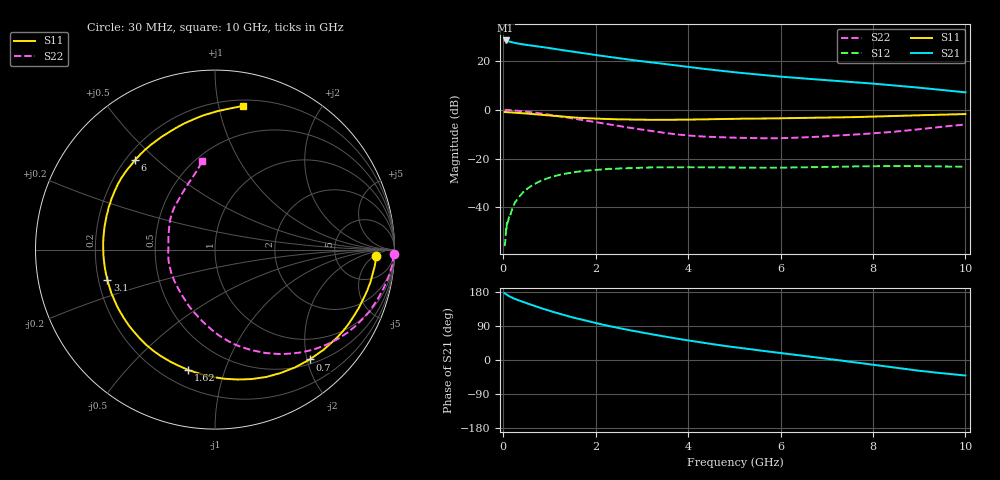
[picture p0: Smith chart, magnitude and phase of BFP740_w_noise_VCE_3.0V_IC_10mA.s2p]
! Infineon Technologies  Discrete & RF Semiconductors
! BFP740
! VCE =  3.0 V,  IC =  10 mA
! Common Emitter S-Parameters:  Jan 2016
# GHz  S  MA  R  50
!  f  S11  S21  S12  S22
! GHz  MAG  ANG  MAG  ANG  MAG  ANG  MAG  ANG
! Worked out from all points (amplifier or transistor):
!   229 points, 30 MHz to 10 GHz, reference 50 ohm
!   highest |S21| = 28.4 dB at 50 MHz (marker M1)
!   |S21| within 3 dB of that: start of sweep to 956.8 MHz
!   unconditionally stable (mu >= 1): 7.154 GHz to end of sweep
!   at 280 MHz: K = 0.15, MSG = 32.3 dB, |S12| = -37.4 dB
!   at 1.78 GHz: K = 0.32, MSG = 24.0 dB, |S12| = -25.0 dB
!   at 10 GHz: K = 1.07, MAG = 13.6 dB, |S12| = -23.3 dB
!   lowest NFmin = 0.51 dB at 450 MHz
!   S11 on the Smith chart (normalised r, x): 30 MHz: 16, -6; 700 MHz: 0.58, -2.05; 1.62 GHz: 0.30, -0.76; 3.1 GHz: 0.24, -0.13; 6 GHz: 0.24, +0.43; 10 GHz: 0.25, +1.19
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0.03  0.898 -2.4  26.19 176.4  0.0016 66.3  0.9959 -1.5
0.05  0.8951 -3.9  26.33 174.8  0.0023 109.2  0.9928 -2.7
0.13  0.8871 -10.1  25.11 168.2  0.007 80.1  0.9855 -6.9
0.26  0.8687 -19.5  23.43 160.8  0.0128 79.6  0.963 -13.1
0.48  0.8404 -34.6  21.5 151.0  0.0224 70.4  0.921 -22.9
0.7  0.8085 -49.2  20.13 141.8  0.031 61.9  0.8711 -32.1
0.9  0.7779 -62.3  19.03 133.6  0.0376 55.6  0.819 -40.1
1.1  0.7493 -74.3  17.76 126.1  0.0435 49.1  0.7664 -47.4
1.4  0.7098 -91.2  16.09 115.7  0.05 41.3  0.6898 -57.6
1.62  0.6865 -102.6  14.99 108.7  0.0539 36.2  0.6386 -64.3
1.7  0.6793 -106.8  14.62 106.2  0.0549 34.6  0.6195 -66.6
1.9  0.666 -116.4  13.72 100.4  0.0576 30.7  0.5778 -72.5
2.3  0.6437 -134.2  12.1 89.4  0.0615 23.3  0.5014 -83.8
2.72  0.6295 -150.7  10.66 79.1  0.0639 17.2  0.4318 -94.9
3.1  0.6232 -164.4  9.582 70.4  0.0654 12.7  0.3784 -105.8
3.4  0.6219 -174.6  8.833 63.8  0.0661 9.1  0.3457 -114.9
4.2  0.6326 162.8  7.151 47.8  0.0661 1.8  0.2876 -140.9
5.1  0.6538 144.5  5.747 32.2  0.0652 -3.8  0.2661 -165.8
6  0.6676 131.8  4.776 18.5  0.0652 -6.9  0.2618 173.4
6.8  0.6849 121.2  4.169 6.5  0.0669 -10.1  0.2796 156.5
8.4  0.7426 97.3  3.191 -19.0  0.0699 -18.3  0.3504 124.1
10  0.8157 78.8  2.277 -40.9  0.068 -25.2  0.4985 98.2
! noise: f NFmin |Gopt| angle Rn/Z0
0.45  0.51  0.22  7  0.16
0.9  0.52  0.22  13  0.16
1.5  0.54  0.21  22  0.15
1.9  0.57  0.21  40  0.15
2.4  0.6  0.2  46  0.14
3.5  0.7  0.18  59  0.13
5.5  0.87  0.17  198  0.12
10  1.35  0.51  -74  0.16
